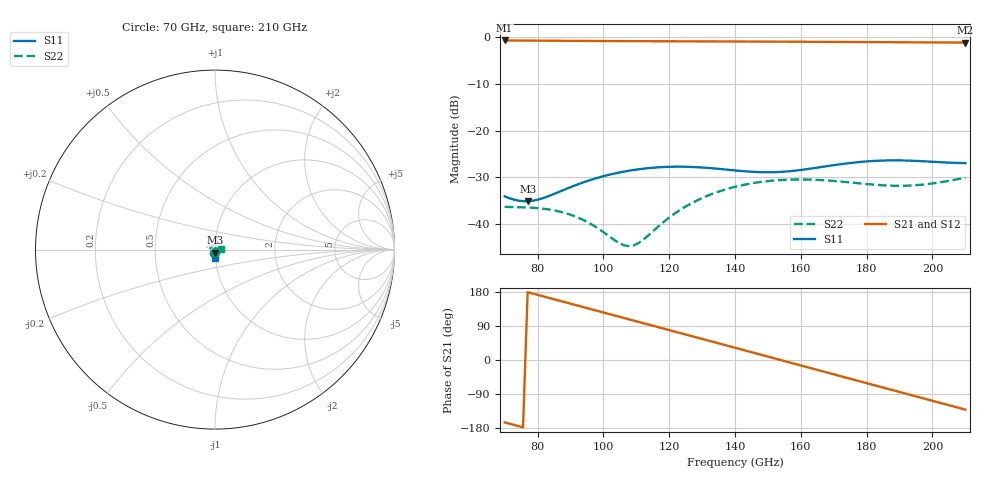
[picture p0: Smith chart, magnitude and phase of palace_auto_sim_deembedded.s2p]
! Created with skrf 1.11.0 (http://scikit-rf.org).
# GHz S DB R 50.0
!freq dBS11 angS11 dBS21 angS21 dBS12 angS12 dBS22 angS22
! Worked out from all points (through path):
!   101 points, 70 GHz to 210 GHz, reference 50 ohm
!   highest |S21| = -0.68 dB at 70 GHz (marker M1); lowest = -1.1 dB at 210 GHz (marker M2)
!   group delay of S21, straight-line fit = 6.48 ps
!   lowest |S11| = -35.1 dB at 77 GHz (marker M3), VSWR 1.04, Z = 50 - j1.76 ohm
!   |S11| at or under -10 dB: start of sweep to end of sweep
!   |S22| runs from -44.7 to -30.1 dB; largest |S21 - S12| = 1e-13
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70  -34.09 -104.1  -0.68 -164.6  -0.68 -164.6  -36.32 -87.8
77  -35.12 -87.6  -0.71 179.0  -0.71 179.0  -36.46 -94.6
85.4  -33.45 -71.0  -0.74 159.4  -0.74 159.4  -37.13 -111.2
93.8  -31.11 -68.1  -0.78 139.9  -0.78 139.9  -39.10 -137.2
100.8  -29.62 -71.2  -0.80 123.6  -0.80 123.6  -42.13 -171.4
105  -28.95 -74.2  -0.82 113.8  -0.82 113.8  -44.16 156.0
107.8  -28.59 -76.4  -0.83 107.3  -0.83 107.3  -44.75 127.6
110.6  -28.29 -78.7  -0.83 100.8  -0.83 100.8  -44.12 98.4
117.6  -27.82 -84.7  -0.85 84.5  -0.85 84.5  -39.99 45.7
123.2  -27.72 -89.2  -0.86 71.5  -0.86 71.5  -37.04 18.8
128.8  -27.84 -92.9  -0.88 58.4  -0.88 58.4  -34.84 -3.2
140  -28.52 -95.7  -0.90 32.3  -0.90 32.3  -32.04 -42.6
147  -28.87 -93.7  -0.92 16.0  -0.92 16.0  -31.08 -66.6
152.6  -28.88 -90.5  -0.93 2.9  -0.93 2.9  -30.64 -86.3
158.2  -28.58 -87.5  -0.95 -10.2  -0.95 -10.2  -30.47 -106.7
163.8  -28.05 -85.6  -0.97 -23.3  -0.97 -23.3  -30.51 -128.0
169.4  -27.46 -85.3  -0.99 -36.4  -0.99 -36.4  -30.74 -150.7
176.4  -26.82 -86.9  -1.01 -52.7  -1.01 -52.7  -31.19 178.6
187.6  -26.37 -91.3  -1.06 -78.8  -1.06 -78.8  -31.79 123.1
193.2  -26.43 -93.1  -1.08 -91.9  -1.08 -91.9  -31.76 93.1
198.8  -26.62 -93.8  -1.10 -104.9  -1.10 -104.9  -31.42 62.9
210  -26.95 -90.9  -1.13 -130.9  -1.13 -130.9  -30.10 5.6
